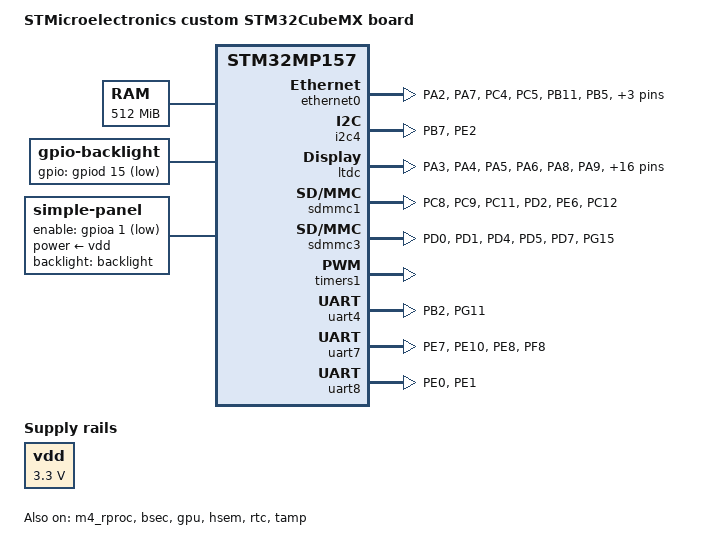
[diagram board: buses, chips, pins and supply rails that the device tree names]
/* SPDX-License-Identifier: (GPL-2.0+ OR BSD-3-Clause) */
/*
 * Copyright (C) STMicroelectronics 2020 - All Rights Reserved
 * Author: STM32CubeMX code generation for STMicroelectronics.
 */

/* For more information on Device Tree configuration, please refer to
 * https://wiki.st.com/stm32mpu/wiki/Category:Device_tree_configuration
 */

/dts-v1/;
#include "stm32mp157c.dtsi"
#include "stm32mp157c-m4-srm.dtsi"
#include "stm32mp157cab-pinctrl.dtsi"

/* USER CODE BEGIN includes */
/* USER CODE END includes */

/ {
	model = "STMicroelectronics custom STM32CubeMX board";
	compatible = "st,stm32mp157a-visionsom-mx", "st,stm32mp157";

	memory@c0000000 {
		reg = <0xc0000000 0x20000000>;

		/* USER CODE BEGIN memory */
		/* USER CODE END memory */
	};

	reserved-memory {
		#address-cells = <1>;
		#size-cells = <1>;
		ranges;

		/* USER CODE BEGIN reserved-memory */
		/* USER CODE END reserved-memory */

		gpu_reserved: gpu@d4000000 {
			reg = <0xd4000000 0x4000000>;
			no-map;
		};
	};

	/* USER CODE BEGIN root */

	vdd: regulator_vdd {
		compatible = "regulator-fixed";
		regulator-name = "vdd";
		regulator-min-microvolt = <3300000>;
		regulator-max-microvolt = <3300000>;
		enable-active-high;
		regulator-always-on;
		regulator-initial-mode = <0>;
	};

	backlight: backlight {
		u-boot,dm-pre-reloc;
                compatible = "gpio-backlight";
                gpios = <&gpiod 15 GPIO_ACTIVE_LOW>;
                status = "okay";
        };

	panel {
		status = "okay";
		u-boot,dm-pre-reloc;
		compatible = "simple-panel";
		backlight = <&backlight>;
                power-supply = <&vdd>;
		enable-gpios = <&gpioa 1 GPIO_ACTIVE_LOW>;

		display-timings {
                        timing0: timing0 {
		                clock-frequency = <33300000>;
	                        hactive = <800>;
	                        vactive = <480>;
	                        hfront-porch = <210>;
	                        hback-porch = <46>;
	                        hsync-len = <46>;
	                        vback-porch = <23>;
	                        vfront-porch = <22>;
	                        vsync-len = <23>;
	                        hsync-active = <0>;
	                        vsync-active = <0>;
	                        de-active = <0>;
	                        pixelclk-active = <1>;

			};

		};
	};

	/* USER CODE END root */

	clocks {
		/* USER CODE BEGIN clocks */
		/* USER CODE END clocks */

		clk_lsi: clk-lsi {
			clock-frequency = <32000>;
		};

		clk_hsi: clk-hsi {
			clock-frequency = <64000000>;
		};

		clk_csi: clk-csi {
			clock-frequency = <4000000>;
		};

		clk_lse: clk-lse {
			clock-frequency = <32768>;
		};

		clk_hse: clk-hse {
			clock-frequency = <24000000>;
		};
	};

}; /*root*/

&pinctrl {
	u-boot,dm-pre-reloc;

	eth1_pins_mx: eth1_mx-0 {
		pins1 {
			pinmux = <STM32_PINMUX('A', 2, AF11)>; /* ETH1_MDIO */
			bias-pull-up;
			drive-push-pull;
			slew-rate = <0>;
		};
		pins2 {
			pinmux = <STM32_PINMUX('A', 7, AF11)>, /* ETH1_CRS_DV */
					 <STM32_PINMUX('C', 4, AF11)>, /* ETH1_RXD0 */
					 <STM32_PINMUX('C', 5, AF11)>; /* ETH1_RXD1 */
			bias-disable;
		};
		pins3 {
			pinmux = <STM32_PINMUX('B', 11, AF11)>; /* ETH1_TX_EN */
		};
		pins4 {
			pinmux = <STM32_PINMUX('B', 5, AF0)>, /* ETH1_CLK */
					 <STM32_PINMUX('B', 13, AF11)>, /* ETH1_TXD1 */
					 <STM32_PINMUX('C', 1, AF11)>, /* ETH1_MDC */
					 <STM32_PINMUX('G', 13, AF11)>; /* ETH1_TXD0 */
			bias-disable;
			drive-push-pull;
			slew-rate = <1>;
		};
	};

	eth1_sleep_pins_mx: eth1_sleep_mx-0 {
		pins {
			pinmux = <STM32_PINMUX('A', 2, ANALOG)>, /* ETH1_MDIO */
					 <STM32_PINMUX('A', 7, ANALOG)>, /* ETH1_CRS_DV */
					 <STM32_PINMUX('B', 5, ANALOG)>, /* ETH1_CLK */
					 <STM32_PINMUX('B', 11, ANALOG)>, /* ETH1_TX_EN */
					 <STM32_PINMUX('B', 13, ANALOG)>, /* ETH1_TXD1 */
					 <STM32_PINMUX('C', 1, ANALOG)>, /* ETH1_MDC */
					 <STM32_PINMUX('C', 4, ANALOG)>, /* ETH1_RXD0 */
					 <STM32_PINMUX('C', 5, ANALOG)>, /* ETH1_RXD1 */
					 <STM32_PINMUX('G', 13, ANALOG)>; /* ETH1_TXD0 */
		};
	};

	i2c4_pins_mx: i2c4_mx-0 {
		pins {
			pinmux = <STM32_PINMUX('B', 7, AF6)>, /* I2C4_SDA */
					 <STM32_PINMUX('E', 2, AF4)>; /* I2C4_SCL */
			bias-disable;
			drive-open-drain;
			slew-rate = <0>;
		};
	};

	i2c4_sleep_pins_mx: i2c4_sleep_mx-0 {
		pins {
			pinmux = <STM32_PINMUX('B', 7, ANALOG)>, /* I2C4_SDA */
					 <STM32_PINMUX('E', 2, ANALOG)>; /* I2C4_SCL */
		};
	};

	ltdc_pins_mx: ltdc_mx-0 {
		pins1 {
			pinmux = <STM32_PINMUX('A', 3, AF14)>, /* LTDC_B5 */
					 <STM32_PINMUX('A', 4, AF14)>, /* LTDC_VSYNC */
					 <STM32_PINMUX('A', 5, AF14)>, /* LTDC_R4 */
					 <STM32_PINMUX('A', 6, AF14)>, /* LTDC_G2 */
					 <STM32_PINMUX('A', 8, AF14)>, /* LTDC_R6 */
					 <STM32_PINMUX('A', 9, AF14)>, /* LTDC_R5 */
					 <STM32_PINMUX('B', 0, AF9)>, /* LTDC_R3 */
					 <STM32_PINMUX('B', 8, AF14)>, /* LTDC_B6 */
					 <STM32_PINMUX('B', 9, AF14)>, /* LTDC_B7 */
					 <STM32_PINMUX('B', 10, AF14)>, /* LTDC_G4 */
					 <STM32_PINMUX('C', 6, AF14)>, /* LTDC_HSYNC */
					 <STM32_PINMUX('C', 7, AF14)>, /* LTDC_G6 */
					 <STM32_PINMUX('C', 10, AF14)>, /* LTDC_R2 */
					 <STM32_PINMUX('D', 6, AF14)>, /* LTDC_B2 */
					 <STM32_PINMUX('D', 10, AF14)>, /* LTDC_B3 */
					 <STM32_PINMUX('E', 11, AF14)>, /* LTDC_G3 */
					 <STM32_PINMUX('E', 12, AF14)>, /* LTDC_B4 */
					 <STM32_PINMUX('E', 13, AF14)>, /* LTDC_DE */
					 <STM32_PINMUX('E', 15, AF14)>, /* LTDC_R7 */
					 <STM32_PINMUX('F', 11, AF14)>, /* LTDC_G5 */
					 <STM32_PINMUX('G', 8, AF14)>; /* LTDC_G7 */
			bias-disable;
			drive-push-pull;
			slew-rate = <0>;
		};
		pins2 {
			pinmux = <STM32_PINMUX('E', 14, AF14)>; /* LTDC_CLK */
			bias-disable;
			drive-push-pull;
			slew-rate = <1>;
		};
	};

	ltdc_sleep_pins_mx: ltdc_sleep_mx-0 {
		pins {
			pinmux = <STM32_PINMUX('A', 3, ANALOG)>, /* LTDC_B5 */
					 <STM32_PINMUX('A', 4, ANALOG)>, /* LTDC_VSYNC */
					 <STM32_PINMUX('A', 5, ANALOG)>, /* LTDC_R4 */
					 <STM32_PINMUX('A', 6, ANALOG)>, /* LTDC_G2 */
					 <STM32_PINMUX('A', 8, ANALOG)>, /* LTDC_R6 */
					 <STM32_PINMUX('A', 9, ANALOG)>, /* LTDC_R5 */
					 <STM32_PINMUX('B', 0, ANALOG)>, /* LTDC_R3 */
					 <STM32_PINMUX('B', 8, ANALOG)>, /* LTDC_B6 */
					 <STM32_PINMUX('B', 9, ANALOG)>, /* LTDC_B7 */
					 <STM32_PINMUX('B', 10, ANALOG)>, /* LTDC_G4 */
					 <STM32_PINMUX('C', 6, ANALOG)>, /* LTDC_HSYNC */
					 <STM32_PINMUX('C', 7, ANALOG)>, /* LTDC_G6 */
					 <STM32_PINMUX('C', 10, ANALOG)>, /* LTDC_R2 */
					 <STM32_PINMUX('D', 6, ANALOG)>, /* LTDC_B2 */
					 <STM32_PINMUX('D', 10, ANALOG)>, /* LTDC_B3 */
					 <STM32_PINMUX('E', 11, ANALOG)>, /* LTDC_G3 */
					 <STM32_PINMUX('E', 12, ANALOG)>, /* LTDC_B4 */
					 <STM32_PINMUX('E', 13, ANALOG)>, /* LTDC_DE */
					 <STM32_PINMUX('E', 14, ANALOG)>, /* LTDC_CLK */
					 <STM32_PINMUX('E', 15, ANALOG)>, /* LTDC_R7 */
					 <STM32_PINMUX('F', 11, ANALOG)>, /* LTDC_G5 */
					 <STM32_PINMUX('G', 8, ANALOG)>; /* LTDC_G7 */
		};
	};

	rtc_pins_mx: rtc_mx-0 {
		pins {
			pinmux = <STM32_PINMUX('C', 13, ANALOG)>; /* RTC_LSCO */
		};
	};

	rtc_sleep_pins_mx: rtc_sleep_mx-0 {
		pins {
			pinmux = <STM32_PINMUX('C', 13, ANALOG)>; /* RTC_LSCO */
		};
	};

	sdmmc1_pins_mx: sdmmc1_mx-0 {
		u-boot,dm-pre-reloc;
		pins1 {
			u-boot,dm-pre-reloc;
			pinmux = <STM32_PINMUX('C', 8, AF12)>, /* SDMMC1_D0 */
					 <STM32_PINMUX('C', 9, AF12)>, /* SDMMC1_D1 */
					 <STM32_PINMUX('C', 11, AF12)>, /* SDMMC1_D3 */
					 <STM32_PINMUX('D', 2, AF12)>, /* SDMMC1_CMD */
					 <STM32_PINMUX('E', 6, AF8)>; /* SDMMC1_D2 */
			bias-disable;
			drive-push-pull;
			slew-rate = <1>;
		};
		pins2 {
			u-boot,dm-pre-reloc;
			pinmux = <STM32_PINMUX('C', 12, AF12)>; /* SDMMC1_CK */
			bias-disable;
			drive-push-pull;
			slew-rate = <3>;
		};
	};

	sdmmc1_opendrain_pins_mx: sdmmc1_opendrain_mx-0 {
		u-boot,dm-pre-reloc;
		pins1 {
			u-boot,dm-pre-reloc;
			pinmux = <STM32_PINMUX('C', 8, AF12)>, /* SDMMC1_D0 */
					 <STM32_PINMUX('C', 9, AF12)>, /* SDMMC1_D1 */
					 <STM32_PINMUX('C', 11, AF12)>, /* SDMMC1_D3 */
					 <STM32_PINMUX('E', 6, AF8)>; /* SDMMC1_D2 */
			bias-disable;
			drive-push-pull;
			slew-rate = <1>;
		};
		pins2 {
			u-boot,dm-pre-reloc;
			pinmux = <STM32_PINMUX('C', 12, AF12)>; /* SDMMC1_CK */
			bias-disable;
			drive-push-pull;
			slew-rate = <3>;
		};
		pins3 {
			u-boot,dm-pre-reloc;
			pinmux = <STM32_PINMUX('D', 2, AF12)>; /* SDMMC1_CMD */
			bias-disable;
			drive-open-drain;
			slew-rate = <1>;
		};
	};

	sdmmc1_sleep_pins_mx: sdmmc1_sleep_mx-0 {
		u-boot,dm-pre-reloc;
		pins {
			u-boot,dm-pre-reloc;
			pinmux = <STM32_PINMUX('C', 8, ANALOG)>, /* SDMMC1_D0 */
					 <STM32_PINMUX('C', 9, ANALOG)>, /* SDMMC1_D1 */
					 <STM32_PINMUX('C', 11, ANALOG)>, /* SDMMC1_D3 */
					 <STM32_PINMUX('C', 12, ANALOG)>, /* SDMMC1_CK */
					 <STM32_PINMUX('D', 2, ANALOG)>, /* SDMMC1_CMD */
					 <STM32_PINMUX('E', 6, ANALOG)>; /* SDMMC1_D2 */
		};
	};

	sdmmc3_pins_mx: sdmmc3_mx-0 {
		pins1 {
			pinmux = <STM32_PINMUX('D', 0, AF10)>, /* SDMMC3_CMD */
					 <STM32_PINMUX('D', 1, AF10)>, /* SDMMC3_D0 */
					 <STM32_PINMUX('D', 4, AF10)>, /* SDMMC3_D1 */
					 <STM32_PINMUX('D', 5, AF10)>, /* SDMMC3_D2 */
					 <STM32_PINMUX('D', 7, AF10)>; /* SDMMC3_D3 */
			bias-disable;
			drive-push-pull;
			slew-rate = <1>;
		};
		pins2 {
			pinmux = <STM32_PINMUX('G', 15, AF10)>; /* SDMMC3_CK */
			bias-disable;
			drive-push-pull;
			slew-rate = <3>;
		};
	};

	sdmmc3_opendrain_pins_mx: sdmmc3_opendrain_mx-0 {
		pins1 {
			pinmux = <STM32_PINMUX('D', 0, AF10)>; /* SDMMC3_CMD */
			bias-disable;
			drive-open-drain;
			slew-rate = <1>;
		};
		pins2 {
			pinmux = <STM32_PINMUX('D', 1, AF10)>, /* SDMMC3_D0 */
					 <STM32_PINMUX('D', 4, AF10)>, /* SDMMC3_D1 */
					 <STM32_PINMUX('D', 5, AF10)>, /* SDMMC3_D2 */
					 <STM32_PINMUX('D', 7, AF10)>; /* SDMMC3_D3 */
			bias-disable;
			drive-push-pull;
			slew-rate = <1>;
		};
		pins3 {
			pinmux = <STM32_PINMUX('G', 15, AF10)>; /* SDMMC3_CK */
			bias-disable;
			drive-push-pull;
			slew-rate = <3>;
		};
	};

	sdmmc3_sleep_pins_mx: sdmmc3_sleep_mx-0 {
		pins {
			pinmux = <STM32_PINMUX('D', 0, ANALOG)>, /* SDMMC3_CMD */
					 <STM32_PINMUX('D', 1, ANALOG)>, /* SDMMC3_D0 */
					 <STM32_PINMUX('D', 4, ANALOG)>, /* SDMMC3_D1 */
					 <STM32_PINMUX('D', 5, ANALOG)>, /* SDMMC3_D2 */
					 <STM32_PINMUX('D', 7, ANALOG)>, /* SDMMC3_D3 */
					 <STM32_PINMUX('G', 15, ANALOG)>; /* SDMMC3_CK */
		};
	};

	tim1_pwm_pins_mx: tim1_pwm_mx-0 {
		pins {
			pinmux = <STM32_PINMUX('A', 11, AF1)>; /* TIM1_CH4 */
			bias-disable;
			drive-push-pull;
			slew-rate = <0>;
		};
	};

	tim1_pwm_sleep_pins_mx: tim1_pwm_sleep_mx-0 {
		pins {
			pinmux = <STM32_PINMUX('A', 11, ANALOG)>; /* TIM1_CH4 */
		};
	};

	uart4_pins_mx: uart4_mx-0 {
		u-boot,dm-pre-reloc;
		pins1 {
			u-boot,dm-pre-reloc;
			pinmux = <STM32_PINMUX('B', 2, AF8)>; /* UART4_RX */
			bias-disable;
		};
		pins2 {
			u-boot,dm-pre-reloc;
			pinmux = <STM32_PINMUX('G', 11, AF6)>; /* UART4_TX */
			bias-disable;
			drive-push-pull;
			slew-rate = <0>;
		};
	};

	uart4_sleep_pins_mx: uart4_sleep_mx-0 {
		u-boot,dm-pre-reloc;
		pins {
			u-boot,dm-pre-reloc;
			pinmux = <STM32_PINMUX('B', 2, ANALOG)>, /* UART4_RX */
					 <STM32_PINMUX('G', 11, ANALOG)>; /* UART4_TX */
		};
	};

	uart7_pins_mx: uart7_mx-0 {
		pins1 {
			pinmux = <STM32_PINMUX('E', 7, AF7)>, /* UART7_RX */
					 <STM32_PINMUX('E', 10, AF7)>; /* UART7_CTS */
			bias-disable;
		};
		pins2 {
			pinmux = <STM32_PINMUX('E', 8, AF7)>, /* UART7_TX */
					 <STM32_PINMUX('F', 8, AF7)>; /* UART7_RTS */
			bias-disable;
			drive-push-pull;
			slew-rate = <0>;
		};
	};

	uart7_sleep_pins_mx: uart7_sleep_mx-0 {
		pins {
			pinmux = <STM32_PINMUX('E', 7, ANALOG)>, /* UART7_RX */
					 <STM32_PINMUX('E', 8, ANALOG)>, /* UART7_TX */
					 <STM32_PINMUX('E', 10, ANALOG)>, /* UART7_CTS */
					 <STM32_PINMUX('F', 8, ANALOG)>; /* UART7_RTS */
		};
	};

	uart8_pins_mx: uart8_mx-0 {
		u-boot,dm-pre-reloc;
		pins1 {
			u-boot,dm-pre-reloc;
			pinmux = <STM32_PINMUX('E', 0, AF8)>; /* UART8_RX */
			bias-disable;
		};
		pins2 {
			u-boot,dm-pre-reloc;
			pinmux = <STM32_PINMUX('E', 1, AF8)>; /* UART8_TX */
			bias-disable;
			drive-push-pull;
			slew-rate = <0>;
		};
	};

	uart8_sleep_pins_mx: uart8_sleep_mx-0 {
		u-boot,dm-pre-reloc;
		pins {
			u-boot,dm-pre-reloc;
			pinmux = <STM32_PINMUX('E', 0, ANALOG)>, /* UART8_RX */
					 <STM32_PINMUX('E', 1, ANALOG)>; /* UART8_TX */
		};
	};

	/* USER CODE BEGIN pinctrl */
	/* USER CODE END pinctrl */
};

&pinctrl_z {
	u-boot,dm-pre-reloc;

	/* USER CODE BEGIN pinctrl_z */
	/* USER CODE END pinctrl_z */
};

&m4_rproc{
	recovery;
	status = "okay";

	/* USER CODE BEGIN m4_rproc */
	/* USER CODE END m4_rproc */
};

&bsec{
	status = "okay";

	/* USER CODE BEGIN bsec */
	/* USER CODE END bsec */
};

&ethernet0{
	pinctrl-names = "default", "sleep";
	pinctrl-0 = <&eth1_pins_mx>;
	pinctrl-1 = <&eth1_sleep_pins_mx>;
	status = "okay";

	/* USER CODE BEGIN ethernet0 */
	/* USER CODE END ethernet0 */
};

&gpu{
	status = "okay";

	/* USER CODE BEGIN gpu */
	/* USER CODE END gpu */
};

&hsem{
	status = "okay";

	/* USER CODE BEGIN hsem */
	/* USER CODE END hsem */
};

&i2c4{
	pinctrl-names = "default", "sleep";
	pinctrl-0 = <&i2c4_pins_mx>;
	pinctrl-1 = <&i2c4_sleep_pins_mx>;
	status = "okay";

	/* USER CODE BEGIN i2c4 */
	/* USER CODE END i2c4 */
};

&ltdc{
	pinctrl-names = "default", "sleep";
	pinctrl-0 = <&ltdc_pins_mx>;
	pinctrl-1 = <&ltdc_sleep_pins_mx>;
	status = "okay";

	/* USER CODE BEGIN ltdc */

	u-boot,dm-pre-reloc;

	/* USER CODE END ltdc */
};

&rcc{
	u-boot,dm-pre-reloc;
	status = "okay";

	/* USER CODE BEGIN rcc */
	/* USER CODE END rcc */
};

&rtc{
	pinctrl-names = "default", "sleep";
	pinctrl-0 = <&rtc_pins_mx>;
	pinctrl-1 = <&rtc_sleep_pins_mx>;
	status = "okay";

	/* USER CODE BEGIN rtc */
	/* USER CODE END rtc */
};

&sdmmc1{
	u-boot,dm-pre-reloc;
	pinctrl-names = "default", "opendrain", "sleep";
	pinctrl-0 = <&sdmmc1_pins_mx>;
	pinctrl-1 = <&sdmmc1_opendrain_pins_mx>;
	pinctrl-2 = <&sdmmc1_sleep_pins_mx>;
	status = "okay";

	/* USER CODE BEGIN sdmmc1 */
	/* USER CODE END sdmmc1 */
};

&sdmmc3{
	pinctrl-names = "default", "opendrain", "sleep";
	pinctrl-0 = <&sdmmc3_pins_mx>;
	pinctrl-1 = <&sdmmc3_opendrain_pins_mx>;
	pinctrl-2 = <&sdmmc3_sleep_pins_mx>;
	status = "okay";

	/* USER CODE BEGIN sdmmc3 */
	/* USER CODE END sdmmc3 */
};

&tamp{
	status = "okay";

	/* USER CODE BEGIN tamp */
	/* USER CODE END tamp */
};

&timers1{
	status = "okay";

	/* USER CODE BEGIN timers1 */
	/* USER CODE END timers1 */

	pwm{
		pinctrl-names = "default", "sleep";
		pinctrl-0 = <&tim1_pwm_pins_mx>;
		pinctrl-1 = <&tim1_pwm_sleep_pins_mx>;
		status = "okay";

		/* USER CODE BEGIN timers1_pwm */
		/* USER CODE END timers1_pwm */
	};
};

&uart4{
	u-boot,dm-pre-reloc;
	pinctrl-names = "default", "sleep";
	pinctrl-0 = <&uart4_pins_mx>;
	pinctrl-1 = <&uart4_sleep_pins_mx>;
	status = "okay";

	/* USER CODE BEGIN uart4 */
	/* USER CODE END uart4 */
};

&uart7{
	pinctrl-names = "default", "sleep";
	pinctrl-0 = <&uart7_pins_mx>;
	pinctrl-1 = <&uart7_sleep_pins_mx>;
	status = "okay";

	/* USER CODE BEGIN uart7 */
	/* USER CODE END uart7 */
};

&uart8{
	u-boot,dm-pre-reloc;
	pinctrl-names = "default", "sleep";
	pinctrl-0 = <&uart8_pins_mx>;
	pinctrl-1 = <&uart8_sleep_pins_mx>;
	status = "okay";

	/* USER CODE BEGIN uart8 */
	/* USER CODE END uart8 */
};

/* USER CODE BEGIN addons */
/* USER CODE END addons */

